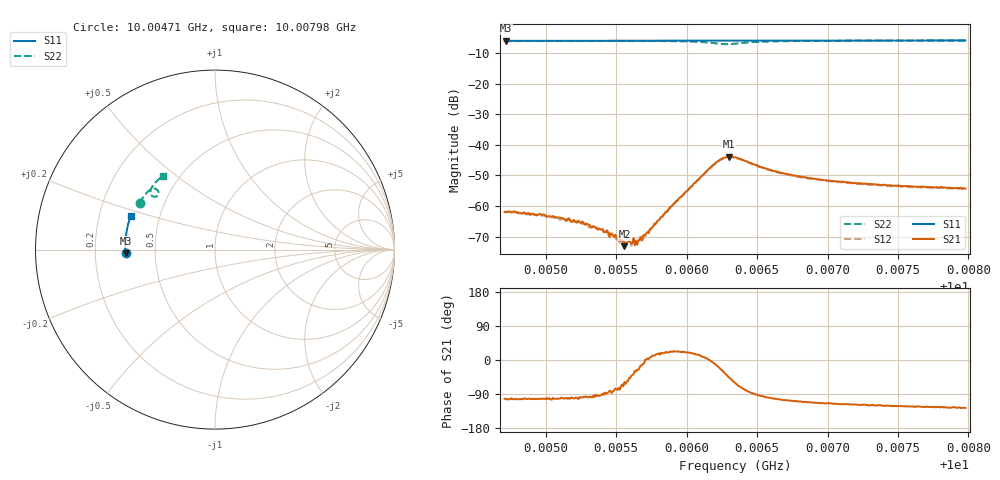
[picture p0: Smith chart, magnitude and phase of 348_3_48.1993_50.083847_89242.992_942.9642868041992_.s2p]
#  HZ  S  RI  R  50.00
! Rohde & Schwarz Vector Network Analyzer
! Rohde-Schwarz,ZNB20-2Port,1311601062101988,3.16
! Created: UTC 3/20/2024, 11:51:41 AM
! freq[Hz]  re:S11  im:S11  re:S21  im:S21  re:S12  im:S12  re:S22  im:S22
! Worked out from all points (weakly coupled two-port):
!   401 points, 10.00471 GHz to 10.00798 GHz, reference 50 ohm
!   highest |S21| = -43.89 dB at 10.0063 GHz (marker M1); lowest = -73.1 dB at 10.00556 GHz (marker M2)
!   lowest |S11| = -6.0 dB at 10.00472 GHz (marker M3), VSWR 2.99, Z = 16.7 - j0.919 ohm
!   |S11| at or under -10 dB: nowhere
!   |S22| runs from -7.1 to -6.0 dB; largest |S21 - S12| = 0.00034
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1.0004708e10  -0.4986 -0.0211  -0.000163 -0.000779  -0.000111 -0.000794  -0.419 0.2605
1.0004716e10  -0.4986 -0.0206  -0.000191 -0.000775  -0.000138 -0.000802  -0.4189 0.2608
1.0004969e10  -0.4995 -0.00402  -0.000147 -0.000701  -0.000151 -0.000676  -0.4102 0.276
1.0005165e10  -0.4998 0.00859  -0.000108 -0.000621  -9.01e-05 -0.000581  -0.4028 0.2874
1.0005255e10  -0.4999 0.0144  -7.96e-05 -0.000552  -4.83e-05 -0.000523  -0.3992 0.2927
1.0005435e10  -0.4999 0.0261  1.9e-05 -0.0004  1.54e-05 -0.000381  -0.3915 0.3036
1.0005484e10  -0.4997 0.0293  5.15e-05 -0.000309  3.11e-05 -0.000335  -0.3892 0.3065
1.0005558e10  -0.4996 0.034  0.000115 -0.000189  0.000122 -0.000239  -0.3856 0.3111
1.0005591e10  -0.4995 0.0362  0.000181 -0.0002  0.000151 -0.000186  -0.3838 0.313
1.0005648e10  -0.4992 0.0399  0.00021 -0.000101  0.000247 -0.00012  -0.3807 0.3167
1.0005672e10  -0.4992 0.0416  0.000302 -7.86e-05  0.000258 -3.54e-05  -0.3793 0.3181
1.0005746e10  -0.4989 0.0463  0.000417 5.41e-05  0.000425 7.06e-05  -0.3748 0.3229
1.0005803e10  -0.4988 0.0499  0.000554 0.000181  0.00058 0.000197  -0.3709 0.3265
1.0005893e10  -0.4983 0.0558  0.000922 0.00037  0.00089 0.000386  -0.3635 0.332
1.0006179e10  -0.496 0.0743  0.00449 -0.000363  0.00438 -0.000153  -0.3199 0.3313
1.0006245e10  -0.4954 0.0783  0.00526 -0.00247  0.00528 -0.0022  -0.3145 0.3126
1.0006302e10  -0.4951 0.0817  0.0044 -0.00463  0.00452 -0.00431  -0.3254 0.2969
1.0006343e10  -0.4947 0.0841  0.00308 -0.00544  0.00327 -0.00516  -0.3379 0.2943
1.0006596e10  -0.4926 0.1004  -0.000717 -0.00383  -0.000495 -0.00377  -0.359 0.3303
1.0006891e10  -0.4892 0.1191  -0.00108 -0.00261  -0.000897 -0.00262  -0.3466 0.3559
1.0007439e10  -0.4807 0.1534  -0.00111 -0.00187  -0.000996 -0.00189  -0.3193 0.3865
1.0007978e10  -0.47 0.1866  -0.00115 -0.00155  -0.00105 -0.00158  -0.2919 0.4107
